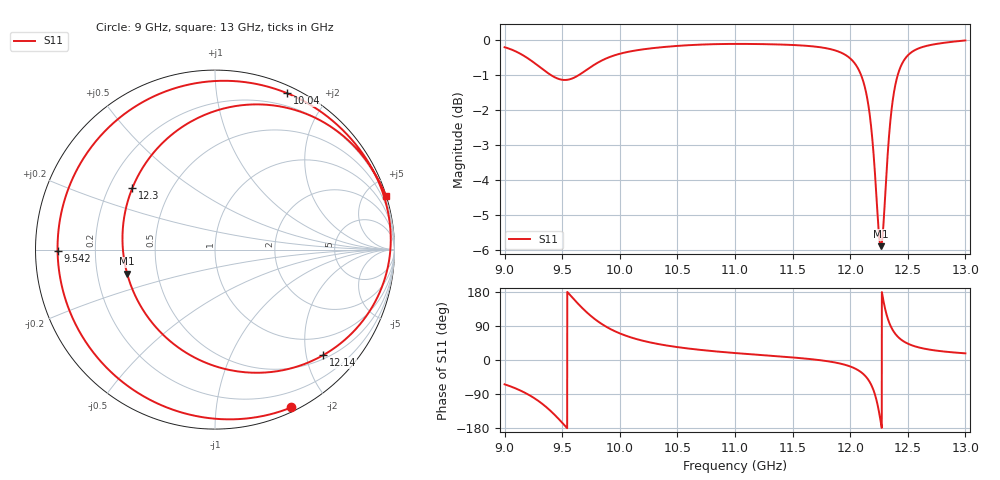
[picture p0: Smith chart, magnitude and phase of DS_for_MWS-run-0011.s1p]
! TOUCHSTONE file generated by CST DESIGN STUDIO
! Date and time: Wed Feb  5 13:19:46 2025
! Project name: C:\Work\MatlabApps\UnitCellOptimizationMatlab\CST\unitcell.cst
! Tree item: Tasks\Sweep1\SPara1\S-Parameters
! Header version: 2024
! Port assignment regex: !\s*Touchstone port\s*([0-9]+)\s*=\s*(CST MWS port|CST DES external port|CST DES block port)\s*(.+)\s* \(\"(.*)\"\)(\s*mode\s*([0-9]+))?.*
! Touchstone port assignment:
! Touchstone port 1 = CST DES external port 1 ("")
# GHz S MA R 50
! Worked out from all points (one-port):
!   4001 points, 9 GHz to 13 GHz, reference 50 ohm
!   lowest |S11| = -5.9 dB at 12.27 GHz (marker M1), VSWR 3.06, Z = 16.6 - j5.97 ohm
!   |S11| at or under -10 dB: nowhere
!   S11 on the Smith chart (normalised r, x): 9 GHz: 0.04, -1.59; 9.542 GHz: 0.07, -0.00; 10.04 GHz: 0.07, +1.56; 12.14 GHz: 0.58, -2.34; 12.3 GHz: 0.30, +0.30; 13 GHz: 0.03, +6.48
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9  0.9765 -64.2
9.172  0.9483 -85.7
9.293  0.9183 -108.0
9.396  0.8923 -133.5
9.5  0.8773 -165.5
9.542  0.8772 -179.6
9.632  0.8886 150.3
9.751  0.9157 115.7
9.857  0.9371 92.4
10  0.9557 70.2
10.042  0.9595 65.3
10.238  0.9715 48.1
10.5  0.9807 34.0
11  0.9872 18.4
11.5  0.9837 6.7
11.807  0.9722 -3.4
12  0.9412 -17.0
12.137  0.8427 -44.2
12.212  0.6557 -88.3
12.238  0.5617 -118.7
12.266  0.5076 -164.7
12.297  0.5738 143.5
12.328  0.6966 107.6
12.363  0.8053 82.4
12.423  0.9024 58.6
12.5  0.9505 43.2
12.67  0.9814 28.3
13  0.9985 17.6
